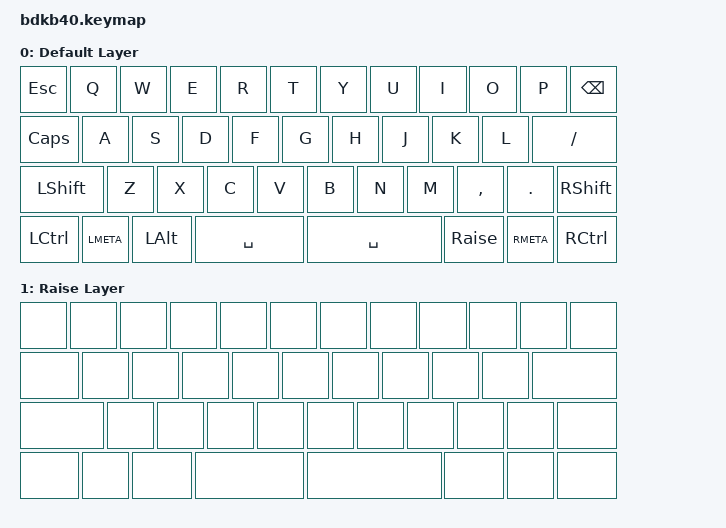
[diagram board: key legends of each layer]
// This file was generated from a template. Edit it to match your keyboard.
// See https://zmk.dev/docs/development/hardware-integration/new-shield for more instructions.

#include <behaviors.dtsi>
#include <dt-bindings/zmk/keys.h>

#define DEFAULT 0
#define LOWER   1
#define RAISE   2

/ {
    // Define a default keymap here.
    // See https://zmk.dev/docs/development/hardware-integration/new-shield#default-keymap.
    keymap {
        compatible = "zmk,keymap";

        default_layer {
            display-name = "Default Layer";
            // ------------------------------------------------------------------------------------------------------------
            // | ESC |  Q  |  W  |  E  |  R  |  T  |  Y  |  U  |  I  |  O  |  P  |BSPC |
            // |  CAPS |  A  |  S  |  D  |  F  |  G  |  H  |  J  |  K  |  L  |    \    |
            // |  SHIFT  |  Z  |  X  |  C  |  V  |  B  |  N  |  M  |  ,  |  .  | SHIFT |
            // |  CTRL |LMETA|  ALT  |   SPACE   |     SPACE     | Raise |RMETA|  CTRL |
            bindings = <
                &kp ESC  &kp Q    &kp W    &kp E    &kp R    &kp T    &kp Y    &kp U    &kp I    &kp O    &kp P    &kp BSPC
                &kp CAPS      &kp A    &kp S    &kp D    &kp F    &kp G    &kp H    &kp J    &kp K    &kp L        &kp FSLH
                &kp LSHIFT      &kp Z    &kp X    &kp C    &kp V    &kp B    &kp N    &kp M   &kp COMMA   &kp DOT  &kp RSHIFT
                &kp LCTRL      &kp LMETA   &kp LALT      &kp  SPACE       &kp  SPACE       &kp Raise  &kp RMETA    &kp RCTRL
            >;
        };

        raise_layer {
            display-name = "Raise Layer";
            // ------------------------------------------------------------------------------------------------------------
            // | ESC |  Q  |  W  |  E  |  R  |  T  |  Y  |  U  |  I  |  O  |  P  |BSPC |
            // |  CAPS |  A  |  S  |  D  |  F  |  G  |  H  |  J  |  K  |  L  |    \    |
            // |  SHIFT  |  Z  |  X  |  C  |  V  |  B  |  N  |  M  |  ,  |  .  | SHIFT |
            // |  CTRL |LMETA|  ALT  |   SPACE   |     SPACE     | Raise |RMETA|  CTRL |
            bindings = <
                &none &none &none &none &none &none &none &none &none &none &none &none
                &none &none &none &none &none &none &none &none &none &none &none
                &none &none &none &none &none &none &none &none &none &none &none
                &none &none &none &none &none &none &none &none
            >;

        }
    };
};
